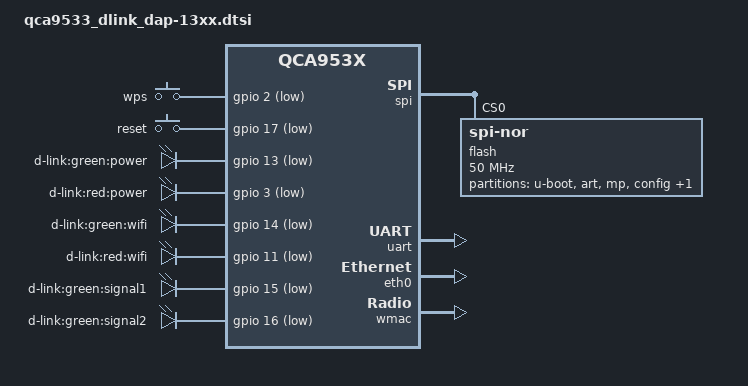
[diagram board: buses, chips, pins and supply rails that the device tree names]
// SPDX-License-Identifier: GPL-2.0-or-later OR MIT

#include <dt-bindings/gpio/gpio.h>
#include <dt-bindings/input/input.h>

#include "qca953x.dtsi"

/ {
	aliases {
		led-boot = &led_power;
		led-failsafe = &led_power;
		led-running = &led_power;
		led-upgrade = &led_power;
	};

	keys {
		compatible = "gpio-keys";

		wps {
			label = "wps";
			linux,code = <KEY_WPS_BUTTON>;
			gpios = <&gpio 2 GPIO_ACTIVE_LOW>;
		};

		reset {
			label = "reset";
			linux,code = <KEY_RESTART>;
			gpios = <&gpio 17 GPIO_ACTIVE_LOW>;
		};
	};

	leds {
		compatible = "gpio-leds";

		led_power: power_green {
			label = "d-link:green:power";
			gpios = <&gpio 13 GPIO_ACTIVE_LOW>;
		};

		power_red {
			label = "d-link:red:power";
			gpios = <&gpio 3 GPIO_ACTIVE_LOW>;
		};

		wifi_green {
			label = "d-link:green:wifi";
			gpios = <&gpio 14 GPIO_ACTIVE_LOW>;
		};

		wifi_red {
			label = "d-link:red:wifi";
			gpios = <&gpio 11 GPIO_ACTIVE_LOW>;
		};

		signal1 {
			label = "d-link:green:signal1";
			gpios = <&gpio 15 GPIO_ACTIVE_LOW>;
		};

		signal2 {
			label = "d-link:green:signal2";
			gpios = <&gpio 16 GPIO_ACTIVE_LOW>;
		};
	};
};

&spi {
	status = "okay";

	num-cs = <1>;

	flash@0 {
		compatible = "jedec,spi-nor";
		reg = <0x0>;
		spi-max-frequency = <50000000>;

		partitions {
			compatible = "fixed-partitions";
			#address-cells = <1>;
			#size-cells = <1>;

			partition@0 {
				label = "u-boot";
				reg = <0x0 0x10000>;
				read-only;
			};

			art: partition@10000 {
				label = "art";
				reg = <0x10000 0x10000>;
				read-only;
			};

			partition@20000 {
				label = "mp";
				reg = <0x20000 0x10000>;
				read-only;
			};

			partition@30000 {
				label = "config";
				reg = <0x30000 0x10000>;
				read-only;
			};

			partition@40000 {
				label = "firmware";
				reg = <0x40000 0x7c0000>;
				compatible = "denx,uimage";
			};
		};
	};
};

&uart {
	status = "okay";
};

&eth0 {
	status = "okay";
};

&wmac {
	status = "okay";

	mtd-cal-data = <&art 0x1000>;
};
